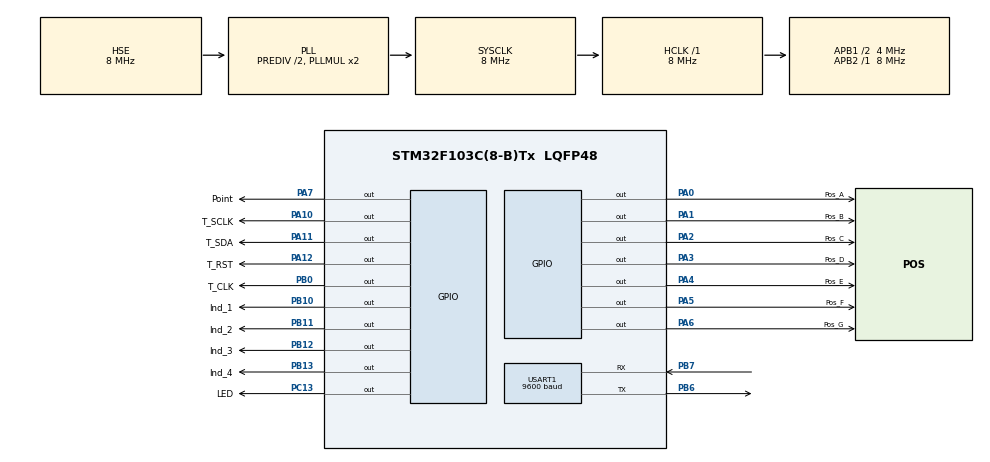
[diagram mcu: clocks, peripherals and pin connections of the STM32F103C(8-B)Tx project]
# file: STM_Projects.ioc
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Mcu.Family=STM32F1
Mcu.Name=STM32F103C(8-B)Tx
Mcu.Package=LQFP48
NVIC.PriorityGroup=NVIC_PRIORITYGROUP_4
NVIC.TIM1_UP_IRQn=true\:0\:0\:false\:false\:true\:true\:true\:true
NVIC.USART1_IRQn=true\:0\:0\:false\:false\:true\:true\:true\:true
PA0-WKUP.GPIO_Label=Pos_A
PA0-WKUP.GPIO_ModeDefaultOutputPP=GPIO_MODE_OUTPUT_PP
PA0-WKUP.GPIO_PuPd=GPIO_NOPULL
PA0-WKUP.PinState=GPIO_PIN_RESET
PA0-WKUP.Signal=GPIO_Output
PA1.GPIO_Label=Pos_B
PA1.GPIO_PuPd=GPIO_NOPULL
PA1.PinState=GPIO_PIN_RESET
PA1.Signal=GPIO_Output
PA10.GPIO_Label=T_SCLK
PA10.Signal=GPIO_Output
PA11.GPIO_Label=T_SDA
PA11.Signal=GPIO_Output
PA12.GPIO_Label=T_RST
PA12.Signal=GPIO_Output
PA13.Mode=Serial_Wire
PA13.Signal=SYS_JTMS-SWDIO
PA14.Mode=Serial_Wire
PA14.Signal=SYS_JTCK-SWCLK
PA2.GPIO_Label=Pos_C
PA2.GPIO_PuPd=GPIO_NOPULL
PA2.PinState=GPIO_PIN_RESET
PA2.Signal=GPIO_Output
PA3.GPIO_Label=Pos_D
PA3.GPIO_PuPd=GPIO_NOPULL
PA3.PinState=GPIO_PIN_RESET
PA3.Signal=GPIO_Output
PA4.GPIO_Label=Pos_E
PA4.GPIO_PuPd=GPIO_NOPULL
PA4.PinState=GPIO_PIN_RESET
PA4.Signal=GPIO_Output
PA5.GPIO_Label=Pos_F
PA5.GPIO_PuPd=GPIO_NOPULL
PA5.PinState=GPIO_PIN_RESET
PA5.Signal=GPIO_Output
PA6.GPIO_Label=Pos_G
PA6.GPIO_PuPd=GPIO_NOPULL
PA6.PinState=GPIO_PIN_RESET
PA6.Signal=GPIO_Output
PA7.GPIO_Label=Point
PA7.GPIO_PuPd=GPIO_NOPULL
PA7.PinState=GPIO_PIN_RESET
PA7.Signal=GPIO_Output
PB0.GPIO_Label=T_CLK
PB0.Signal=GPIO_Output
PB10.GPIO_Label=Ind_1
PB10.GPIO_ModeDefaultOutputPP=GPIO_MODE_OUTPUT_OD
PB10.GPIO_PuPd=GPIO_NOPULL
PB10.Signal=GPIO_Output
PB11.GPIO_Label=Ind_2
PB11.GPIO_ModeDefaultOutputPP=GPIO_MODE_OUTPUT_OD
PB11.GPIO_PuPd=GPIO_NOPULL
PB11.Signal=GPIO_Output
PB12.GPIO_Label=Ind_3
PB12.GPIO_ModeDefaultOutputPP=GPIO_MODE_OUTPUT_OD
PB12.GPIO_PuPd=GPIO_NOPULL
PB12.Signal=GPIO_Output
PB13.GPIO_Label=Ind_4
PB13.GPIO_ModeDefaultOutputPP=GPIO_MODE_OUTPUT_OD
PB13.GPIO_PuPd=GPIO_NOPULL
PB13.Signal=GPIO_Output
PB6.Mode=Asynchronous
PB6.Signal=USART1_TX
PB7.Mode=Asynchronous
PB7.Signal=USART1_RX
PC13-TAMPER-RTC.GPIO_Label=LED
PC13-TAMPER-RTC.Signal=GPIO_Output
PD0-OSC_IN.Mode=HSE-External-Oscillator
PD0-OSC_IN.Signal=RCC_OSC_IN
PD1-OSC_OUT.Mode=HSE-External-Oscillator
PD1-OSC_OUT.Signal=RCC_OSC_OUT
ProjectManager.HeapSize=0x200
ProjectManager.StackSize=0x400
ProjectManager.TargetToolchain=MDK-ARM V5.32
RCC.AHBFreq_Value=8000000
RCC.APB1CLKDivider=RCC_HCLK_DIV2
RCC.APB1Freq_Value=4000000
RCC.APB1TimFreq_Value=8000000
RCC.APB2Freq_Value=8000000
RCC.APB2TimFreq_Value=8000000
RCC.HCLKFreq_Value=8000000
RCC.HSEDivPLL=RCC_HSE_PREDIV_DIV2
RCC.PLLSourceVirtual=RCC_PLLSOURCE_HSE
RCC.SYSCLKFreq_VALUE=8000000
RCC.SYSCLKSource=RCC_SYSCLKSOURCE_PLLCLK
RCC.USBFreq_Value=8000000
TIM1.AutoReloadPreload=TIM_AUTORELOAD_PRELOAD_ENABLE
TIM1.Period=25-1
TIM1.Prescaler=1600-1
USART1.BaudRate=9600
USART1.VirtualMode=VM_ASYNC
VP_TIM1_VS_ClockSourceINT.Mode=Internal
board=custom

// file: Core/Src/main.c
/* USER CODE BEGIN Header */
/**
  ******************************************************************************
  * @file           : main.c																														//MASTER//
  * @brief          : Main program body
  ******************************************************************************
  * @attention
  *
  * Copyright (c) 2023 STMicroelectronics.
  * All rights reserved.
  *
  * This software is licensed under terms that can be found in the LICENSE file
  * in the root directory of this software component.
  * If no LICENSE file comes with this software, it is provided AS-IS.
  *
  ******************************************************************************
  */
/* USER CODE END Header */
#include "main.h"

/* USER CODE BEGIN Includes */
#include <stdbool.h>
#include <string.h>
#include "DS1302.h"

/* USER CODE END Includes */

/* USER CODE BEGIN PTD */
struct t_pac
{
	uint8_t first;
	uint8_t data[16];
	uint8_t crc;
	uint8_t last;
};
/* USER CODE END PTD */

/* USER CODE BEGIN PD */
#define RX_BUF_SIZE			19u
#define TX_BUF_SIZE			8u
#define LAST						4u
#define LED_FREQ				3000u/5u //время полупериода в мс, с шагом в 5мс

/* USER CODE END PD */

/* USER CODE BEGIN PM */
const uint16_t Num[10]={63, 6, 91, 79, 102, 109, 125, 7, 127, 111};

uint16_t A,B,C, P1, P2, P3, P4 = 1;
uint8_t Rx=0, Tx=0;
uint8_t RxBuf[RX_BUF_SIZE]={0}, TxBuf[TX_BUF_SIZE]={0};
uint8_t shift=0;
uint8_t Tim[8]={0};
uint8_t Led_step=0;
uint8_t Init_Tim[8]={0,		// Control
										 0, 	// Year
										 0, 		// Month
										0,		// Data
										10, 	// Hour
										16, 	// Min
										2, 		// Sec
										1};		// Day
/* USER CODE END PM */

TIM_HandleTypeDef htim1;

UART_HandleTypeDef huart1;

void SystemClock_Config(void);
static void MX_GPIO_Init(void);
static void MX_TIM1_Init(void);
static void MX_USART1_UART_Init(void);
/* USER CODE BEGIN PFP */
//void setPWM(uint16_t pwm_value);
/* USER CODE END PFP */

/* USER CODE BEGIN 0 */
////void HAL_TIM_PeriodElapsedCallback(TIM_HandleTypeDef *htim)
////{
////      if(htim == &htim1)
////      {
////         HAL_GPIO_TogglePin(LED_GPIO_Port, LED_Pin);
////      }
////}

int Dim(int count_LED, int on, int off)
{
	for (int i=0; i<100; i++ )
		{
		if (count_LED>=off)
		{
			HAL_GPIO_WritePin(LED_GPIO_Port, LED_Pin, GPIO_PIN_RESET);
			count_LED=0;
		}
		else if(count_LED==on)
		{
			HAL_GPIO_WritePin(LED_GPIO_Port, LED_Pin, GPIO_PIN_SET);
			count_LED++;
		}
		else
		{
			count_LED++;
		}
		HAL_Delay(1);
		}
		return 0;
}
bool ready=0;

uint16_t Buf[4]={0, 0, 0, 0};

void HAL_UART_RxCpltCallback(UART_HandleTypeDef *huart)
{
	if (! ready)
	{
		RxBuf[shift] = Rx;
		shift++;
		HAL_UART_Receive_IT(&huart1, &Rx, 1);
		if (shift == RX_BUF_SIZE)
		{
			shift=0;
			if (RxBuf[RX_BUF_SIZE-1]==255)
			{
				ready=true;
			}
		}
	}
}

//void f_test_Pac(uint8_t* data) //функция расшифровки посылки
//{
//	for (uint8_t i=0; i<(16*8); i++)
//	{
//		if()
//	}
//
//}

void GPIO_Write(uint16_t N) //заполнение массива двузначного числа
{
	Buf[0] =	Num[N/1000];
	Buf[1] =	Num[(N/100)%10]+128;
	Buf[2] =	Num[(N/10)%10];
	Buf[3] =	Num[N%10]+128;
}
void HAL_TIM_PeriodElapsedCallback(TIM_HandleTypeDef *htim)
{
  /* Prevent unused argument(s) compilation warning */
  UNUSED(htim);

  /* NOTE : This function should not be modified, when the callback is needed,
            the HAL_TIM_PeriodElapsedCallback could be implemented in the user file
   */
	if(A >= LAST) A=0;

//	GPIOA->BSRR=255 << 16u;//сбросить все
//	GPIOB->BSRR=15360;//установить все
//	GPIOA->BSRR=(uint32_t) Buf[A];
//	GPIOB->BSRR=(uint32_t) (1024<<A) << 16u ;

//	A++;
//	B++;

	Led_step++;
	if (Led_step == LED_FREQ)
	{
		Led_step=0;
			HAL_GPIO_TogglePin(LED_GPIO_Port, LED_Pin);
	}
}

/* USER CODE END 0 */

int main(void)
{

  /* MCU Configuration--------------------------------------------------------*/

  /* Reset of all peripherals, Initializes the Flash interface and the Systick. */
  HAL_Init();

  /* USER CODE BEGIN Init */
	DS1302_Init();
  /* USER CODE END Init */

  /* Configure the system clock */
  SystemClock_Config();

  /* Initialize all configured peripherals */
  MX_GPIO_Init();
  MX_TIM1_Init();
  MX_USART1_UART_Init();
  /* USER CODE BEGIN 2 */

	HAL_TIM_Base_Start_IT(&htim1);

  /* USER CODE END 2 */

  /* Infinite loop */
  /* USER CODE BEGIN WHILE */

	//#include <LID_func.h>
	uint8_t count_LED=0, on=1, off=10;
	bool up=1;
	uint16_t T=0;
	uint16_t step = 9999;

	HAL_UART_Receive_IT(&huart1, &Rx, 1);

  while (1)
  {
		DS1302_ReadTimeBurst(Tim);
		GPIO_Write(Tim[4]*100+Tim[5]);

		if (ready)
		{
			for (int i=0; i<7; i++)
			{
				Init_Tim[i+1]=RxBuf[i];
				RxBuf[i]=0;
			}
			Init_Tim[0]=1;
			RxBuf[7]=0;
			if (memcmp(Init_Tim, Tim, 8) !=0)
			{
				DS1302_WriteTime(Init_Tim);
			}
		}

		if (ready)
		{
			for(uint8_t i = 0; i < 9; i++)
			{
				TxBuf[i]=RxBuf[i];
				RxBuf[i]=0;
			}
			HAL_UART_Transmit_IT(&huart1, TxBuf, 9);
			ready=0;
		}
	}
    /* USER CODE END WHILE */

}

void SystemClock_Config(void)
{
  RCC_OscInitTypeDef RCC_OscInitStruct = {0};
  RCC_ClkInitTypeDef RCC_ClkInitStruct = {0};

  /** Initializes the RCC Oscillators according to the specified parameters
  * in the RCC_OscInitTypeDef structure.
  */
  RCC_OscInitStruct.OscillatorType = RCC_OSCILLATORTYPE_HSE;
  RCC_OscInitStruct.HSEState = RCC_HSE_ON;
  RCC_OscInitStruct.HSEPredivValue = RCC_HSE_PREDIV_DIV2;
  RCC_OscInitStruct.HSIState = RCC_HSI_ON;
  RCC_OscInitStruct.PLL.PLLState = RCC_PLL_ON;
  RCC_OscInitStruct.PLL.PLLSource = RCC_PLLSOURCE_HSE;
  RCC_OscInitStruct.PLL.PLLMUL = RCC_PLL_MUL2;
  if (HAL_RCC_OscConfig(&RCC_OscInitStruct) != HAL_OK)
  {
    Error_Handler();
  }

  /** Initializes the CPU, AHB and APB buses clocks
  */
  RCC_ClkInitStruct.ClockType = RCC_CLOCKTYPE_HCLK|RCC_CLOCKTYPE_SYSCLK
                              |RCC_CLOCKTYPE_PCLK1|RCC_CLOCKTYPE_PCLK2;
  RCC_ClkInitStruct.SYSCLKSource = RCC_SYSCLKSOURCE_PLLCLK;
  RCC_ClkInitStruct.AHBCLKDivider = RCC_SYSCLK_DIV1;
  RCC_ClkInitStruct.APB1CLKDivider = RCC_HCLK_DIV2;
  RCC_ClkInitStruct.APB2CLKDivider = RCC_HCLK_DIV1;

  if (HAL_RCC_ClockConfig(&RCC_ClkInitStruct, FLASH_LATENCY_0) != HAL_OK)
  {
    Error_Handler();
  }
}

static void MX_TIM1_Init(void)
{

  TIM_ClockConfigTypeDef sClockSourceConfig = {0};
  TIM_MasterConfigTypeDef sMasterConfig = {0};

  htim1.Instance = TIM1;
  htim1.Init.Prescaler = 1600-1;
  htim1.Init.CounterMode = TIM_COUNTERMODE_UP;
  htim1.Init.Period = 25-1;
  htim1.Init.ClockDivision = TIM_CLOCKDIVISION_DIV1;
  htim1.Init.RepetitionCounter = 0;
  htim1.Init.AutoReloadPreload = TIM_AUTORELOAD_PRELOAD_ENABLE;
  if (HAL_TIM_Base_Init(&htim1) != HAL_OK)
  {
    Error_Handler();
  }
  sClockSourceConfig.ClockSource = TIM_CLOCKSOURCE_INTERNAL;
  if (HAL_TIM_ConfigClockSource(&htim1, &sClockSourceConfig) != HAL_OK)
  {
    Error_Handler();
  }
  sMasterConfig.MasterOutputTrigger = TIM_TRGO_RESET;
  sMasterConfig.MasterSlaveMode = TIM_MASTERSLAVEMODE_DISABLE;
  if (HAL_TIMEx_MasterConfigSynchronization(&htim1, &sMasterConfig) != HAL_OK)
  {
    Error_Handler();
  }

}

static void MX_USART1_UART_Init(void)
{

  huart1.Instance = USART1;
  huart1.Init.BaudRate = 9600;
  huart1.Init.WordLength = UART_WORDLENGTH_8B;
  huart1.Init.StopBits = UART_STOPBITS_1;
  huart1.Init.Parity = UART_PARITY_NONE;
  huart1.Init.Mode = UART_MODE_TX_RX;
  huart1.Init.HwFlowCtl = UART_HWCONTROL_NONE;
  huart1.Init.OverSampling = UART_OVERSAMPLING_16;
  if (HAL_UART_Init(&huart1) != HAL_OK)
  {
    Error_Handler();
  }

}

static void MX_GPIO_Init(void)
{
  GPIO_InitTypeDef GPIO_InitStruct = {0};

  /* GPIO Ports Clock Enable */
  __HAL_RCC_GPIOC_CLK_ENABLE();
  __HAL_RCC_GPIOD_CLK_ENABLE();
  __HAL_RCC_GPIOA_CLK_ENABLE();
  __HAL_RCC_GPIOB_CLK_ENABLE();

  /*Configure GPIO pin Output Level */
  HAL_GPIO_WritePin(LED_GPIO_Port, LED_Pin, GPIO_PIN_RESET);

  /*Configure GPIO pin Output Level */
  HAL_GPIO_WritePin(GPIOA, Pos_A_Pin|Pos_B_Pin|Pos_C_Pin|Pos_D_Pin
                          |Pos_E_Pin|Pos_F_Pin|Pos_G_Pin|Point_Pin
                          |T_SCLK_Pin|T_SDA_Pin|T_RST_Pin, GPIO_PIN_RESET);

  /*Configure GPIO pin Output Level */
  HAL_GPIO_WritePin(GPIOB, T_CLK_Pin|Ind_1_Pin|Ind_2_Pin|Ind_3_Pin
                          |Ind_4_Pin, GPIO_PIN_RESET);

  /*Configure GPIO pin : LED_Pin */
  GPIO_InitStruct.Pin = LED_Pin;
  GPIO_InitStruct.Mode = GPIO_MODE_OUTPUT_PP;
  GPIO_InitStruct.Pull = GPIO_NOPULL;
  GPIO_InitStruct.Speed = GPIO_SPEED_FREQ_LOW;
  HAL_GPIO_Init(LED_GPIO_Port, &GPIO_InitStruct);

  /*Configure GPIO pins : Pos_A_Pin Pos_B_Pin Pos_C_Pin Pos_D_Pin
                           Pos_E_Pin Pos_F_Pin Pos_G_Pin Point_Pin
                           T_SCLK_Pin T_SDA_Pin T_RST_Pin */
  GPIO_InitStruct.Pin = Pos_A_Pin|Pos_B_Pin|Pos_C_Pin|Pos_D_Pin
                          |Pos_E_Pin|Pos_F_Pin|Pos_G_Pin|Point_Pin
                          |T_SCLK_Pin|T_SDA_Pin|T_RST_Pin;
  GPIO_InitStruct.Mode = GPIO_MODE_OUTPUT_PP;
  GPIO_InitStruct.Pull = GPIO_NOPULL;
  GPIO_InitStruct.Speed = GPIO_SPEED_FREQ_LOW;
  HAL_GPIO_Init(GPIOA, &GPIO_InitStruct);

  /*Configure GPIO pin : T_CLK_Pin */
  GPIO_InitStruct.Pin = T_CLK_Pin;
  GPIO_InitStruct.Mode = GPIO_MODE_OUTPUT_PP;
  GPIO_InitStruct.Pull = GPIO_NOPULL;
  GPIO_InitStruct.Speed = GPIO_SPEED_FREQ_LOW;
  HAL_GPIO_Init(T_CLK_GPIO_Port, &GPIO_InitStruct);

  /*Configure GPIO pins : Ind_1_Pin Ind_2_Pin Ind_3_Pin Ind_4_Pin */
  GPIO_InitStruct.Pin = Ind_1_Pin|Ind_2_Pin|Ind_3_Pin|Ind_4_Pin;
  GPIO_InitStruct.Mode = GPIO_MODE_OUTPUT_OD;
  GPIO_InitStruct.Pull = GPIO_NOPULL;
  GPIO_InitStruct.Speed = GPIO_SPEED_FREQ_LOW;
  HAL_GPIO_Init(GPIOB, &GPIO_InitStruct);

}

void Error_Handler(void)
{
  __disable_irq();
  while (1)
  {
  }
}
